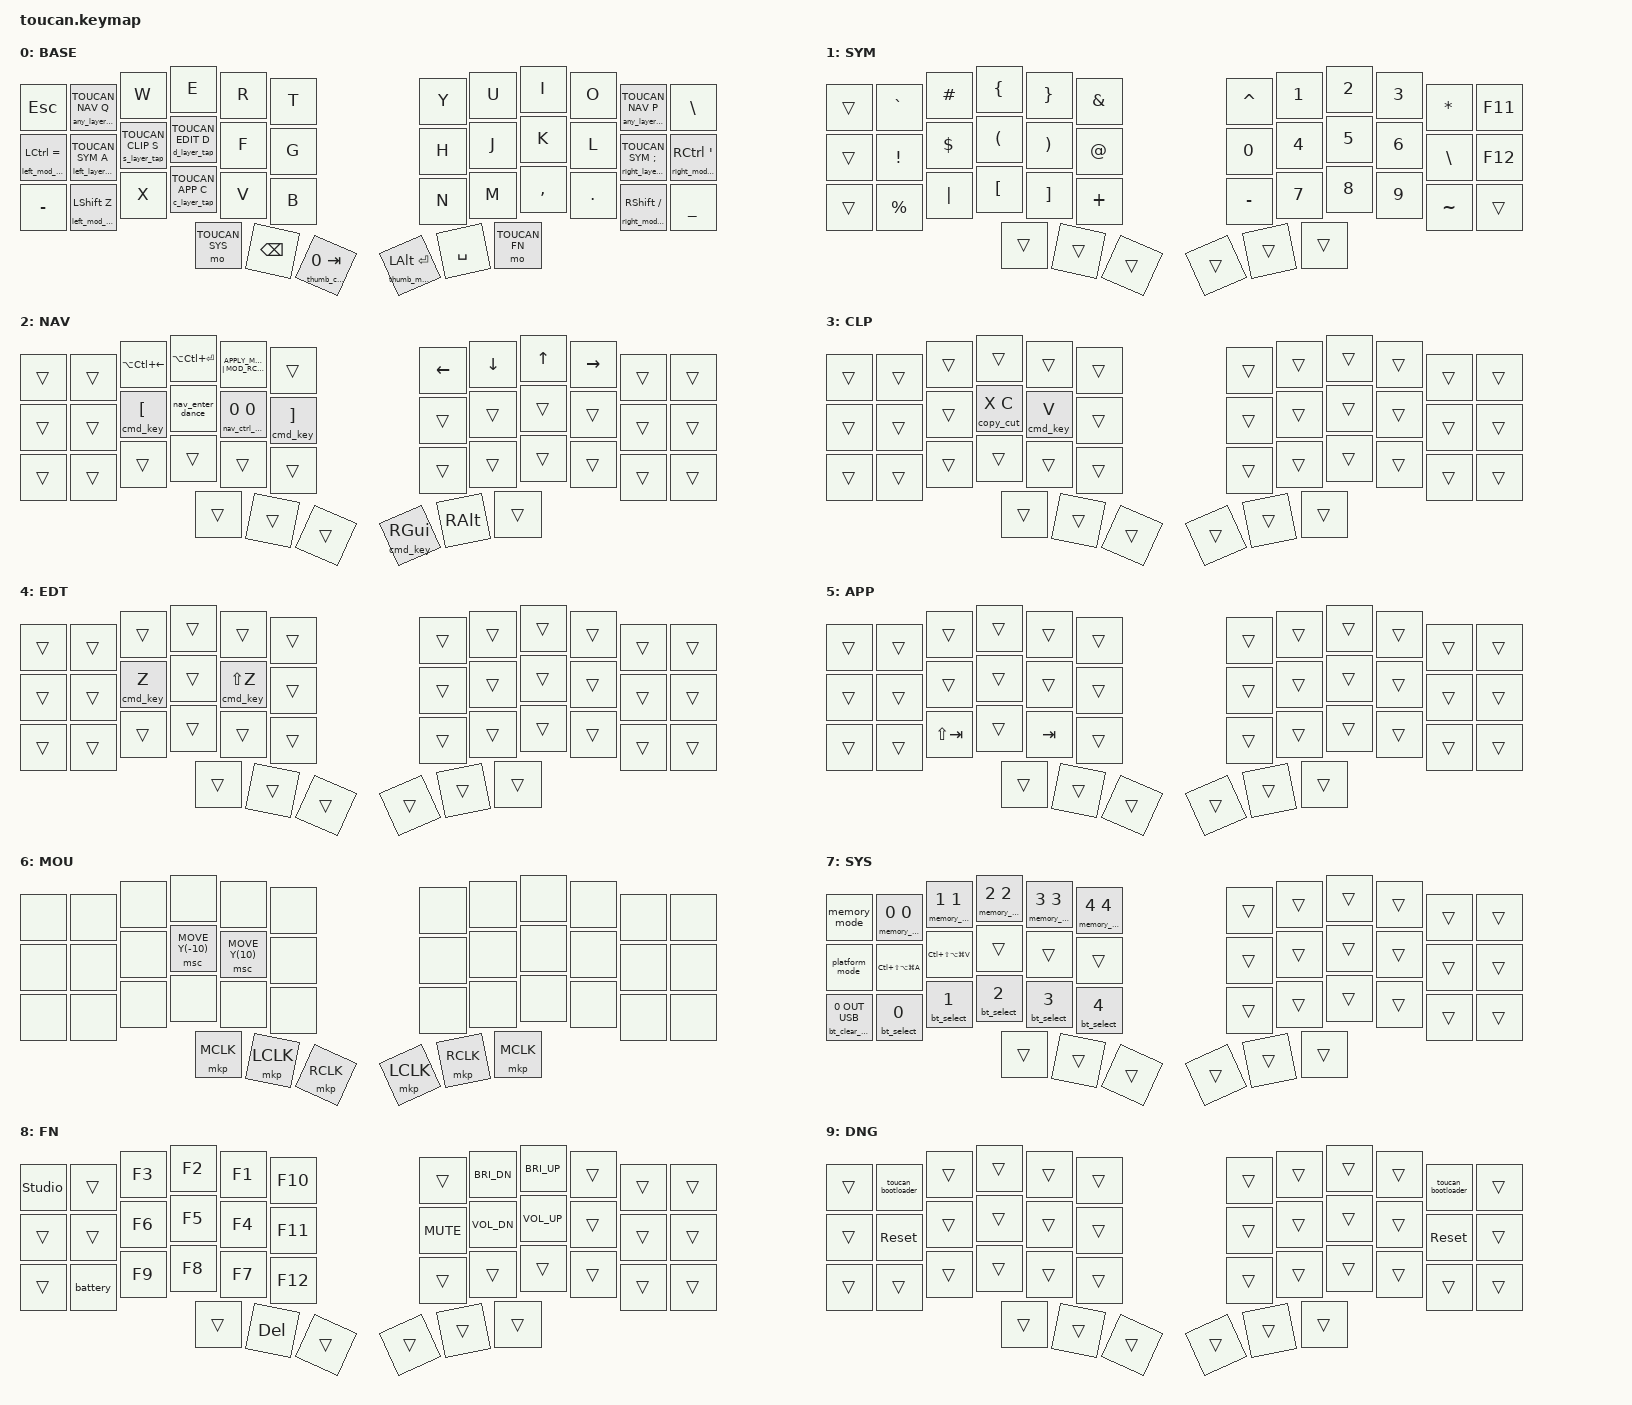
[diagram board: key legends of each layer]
#include <behaviors.dtsi>
#include <dt-bindings/zmk/keys.h>
#include <dt-bindings/zmk/bt.h>
#include <dt-bindings/zmk/outputs.h>
#include <dt-bindings/zmk/pointing.h>

#include <toucan_layers.dtsi>
#include "toucan_behaviors.dtsi"
#include "toucan_combos.dtsi"

/ {
    conditional_layers {
        compatible = "zmk,conditional-layers";

        danger_layer {
            if-layers = <TOUCAN_SYS TOUCAN_FN>;
            then-layer = <TOUCAN_DANGER>;
        };
    };

    keymap {
        compatible = "zmk,keymap";

        base {
            display-name = "BASE";
            bindings = <
                &kp ESC                   &any_layer_tap TOUCAN_NAV Q  &kp W                      &kp E                      &kp R    &kp T                   &kp Y                     &kp U     &kp I         &kp O   &any_layer_tap TOUCAN_NAV P      &kp BSLH
                &left_mod_tap LCTRL EQUAL &left_layer_tap TOUCAN_SYM A &s_layer_tap TOUCAN_CLIP S &d_layer_tap TOUCAN_EDIT D &kp F    &kp G                   &kp H                     &kp J     &kp K         &kp L   &right_layer_tap TOUCAN_SYM SEMI &right_mod_tap RCTRL SQT
                &kp MINUS                 &left_mod_tap LSHFT Z        &kp X                      &c_layer_tap TOUCAN_APP C  &kp V    &kp B                   &kp N                     &kp M     &kp COMMA     &kp DOT &right_mod_tap RSHFT FSLH        &kp UNDER
                                                                                                  &mo TOUCAN_SYS             &kp BSPC &thumb_cmd_tap 0 TAB    &thumb_mod_tap LALT ENTER &kp SPACE &mo TOUCAN_FN
            >;
        };

        sym {
            display-name = "SYM";
            bindings = <
                &trans &kp GRAVE &kp HASH &kp LBRC &kp RBRC &kp AMPS    &kp CARET &kp N1 &kp N2 &kp N3 &kp STAR  &kp F11
                &trans &kp EXCL  &kp DLLR &kp LPAR &kp RPAR &kp AT      &kp N0    &kp N4 &kp N5 &kp N6 &kp BSLH  &kp F12
                &trans &kp PRCNT &kp PIPE &kp LBKT &kp RBKT &kp PLUS    &kp MINUS &kp N7 &kp N8 &kp N9 &kp TILDE &trans
                                          &trans   &trans   &trans      &trans    &trans &trans
            >;
        };

        nav {
            display-name = "NAV";
            bindings = <
                &trans &trans &kp LA(LC(LEFT)) &kp LA(LC(ENTER)) &kp APPLY_MODS((MOD_RALT | MOD_RCTL), RIGHT) &trans           &kp LEFT      &kp DOWN &kp UP &kp RIGHT &trans &trans
                &trans &trans &cmd_key LBKT    &nav_enter_dance  &nav_ctrl_shift 0 0                          &cmd_key RBKT    &trans        &trans   &trans &trans    &trans &trans
                &trans &trans &trans           &trans            &trans                                       &trans           &trans        &trans   &trans &trans    &trans &trans
                                               &trans            &trans                                       &trans           &cmd_key RGUI &kp RALT &trans
            >;
        };

        clip {
            display-name = "CLP";
            bindings = <
                &trans &trans &trans &trans        &trans     &trans    &trans &trans &trans &trans &trans &trans
                &trans &trans &trans &copy_cut X C &cmd_key V &trans    &trans &trans &trans &trans &trans &trans
                &trans &trans &trans &trans        &trans     &trans    &trans &trans &trans &trans &trans &trans
                                     &trans        &trans     &trans    &trans &trans &trans
            >;
        };

        edit {
            display-name = "EDT";
            bindings = <
                &trans &trans &trans     &trans &trans         &trans    &trans &trans &trans &trans &trans &trans
                &trans &trans &cmd_key Z &trans &cmd_key LS(Z) &trans    &trans &trans &trans &trans &trans &trans
                &trans &trans &trans     &trans &trans         &trans    &trans &trans &trans &trans &trans &trans
                                         &trans &trans         &trans    &trans &trans &trans
            >;
        };

        app {
            display-name = "APP";
            bindings = <
                &trans &trans &trans      &trans &trans  &trans    &trans &trans &trans &trans &trans &trans
                &trans &trans &trans      &trans &trans  &trans    &trans &trans &trans &trans &trans &trans
                &trans &trans &kp LS(TAB) &trans &kp TAB &trans    &trans &trans &trans &trans &trans &trans
                                          &trans &trans  &trans    &trans &trans &trans
            >;
        };

        mouse {
            display-name = "MOU";
            bindings = <
                &none &none &none &none            &none           &none        &none     &none     &none     &none &none &none
                &none &none &none &msc MOVE_Y(-10) &msc MOVE_Y(10) &none        &none     &none     &none     &none &none &none
                &none &none &none &none            &none           &none        &none     &none     &none     &none &none &none
                                  &mkp MCLK        &mkp LCLK       &mkp RCLK    &mkp LCLK &mkp RCLK &mkp MCLK
            >;
        };

        system {
            display-name = "SYS";
            bindings = <
                &memory_mode              &memory_slot 0 0      &memory_slot 1 1      &memory_slot 2 2 &memory_slot 3 3 &memory_slot 4 4    &trans &trans &trans &trans &trans &trans
                &platform_mode            &kp LC(LS(LA(LG(A)))) &kp LC(LS(LA(LG(V)))) &trans           &trans           &trans              &trans &trans &trans &trans &trans &trans
                &bt_clear_guard 0 OUT_USB &bt_select 0          &bt_select 1          &bt_select 2     &bt_select 3     &bt_select 4        &trans &trans &trans &trans &trans &trans
                                                                                      &trans           &trans           &trans              &trans &trans &trans
            >;
        };

        fn {
            display-name = "FN";
            bindings = <
                &studio_unlock &trans   &kp F3 &kp F2 &kp F1  &kp F10    &trans     &kp C_BRI_DN &kp C_BRI_UP &trans &trans &trans
                &trans         &trans   &kp F6 &kp F5 &kp F4  &kp F11    &kp C_MUTE &kp C_VOL_DN &kp C_VOL_UP &trans &trans &trans
                &trans         &battery &kp F9 &kp F8 &kp F7  &kp F12    &trans     &trans       &trans       &trans &trans &trans
                                               &trans &kp DEL &trans     &trans     &trans       &trans
            >;
        };

        danger {
            display-name = "DNG";
            bindings = <
                &trans &toucan_bootloader &trans &trans &trans &trans    &trans &trans &trans &trans &toucan_bootloader &trans
                &trans &sys_reset         &trans &trans &trans &trans    &trans &trans &trans &trans &sys_reset         &trans
                &trans &trans             &trans &trans &trans &trans    &trans &trans &trans &trans &trans             &trans
                                                 &trans &trans &trans    &trans &trans &trans
            >;
        };
    };
};
